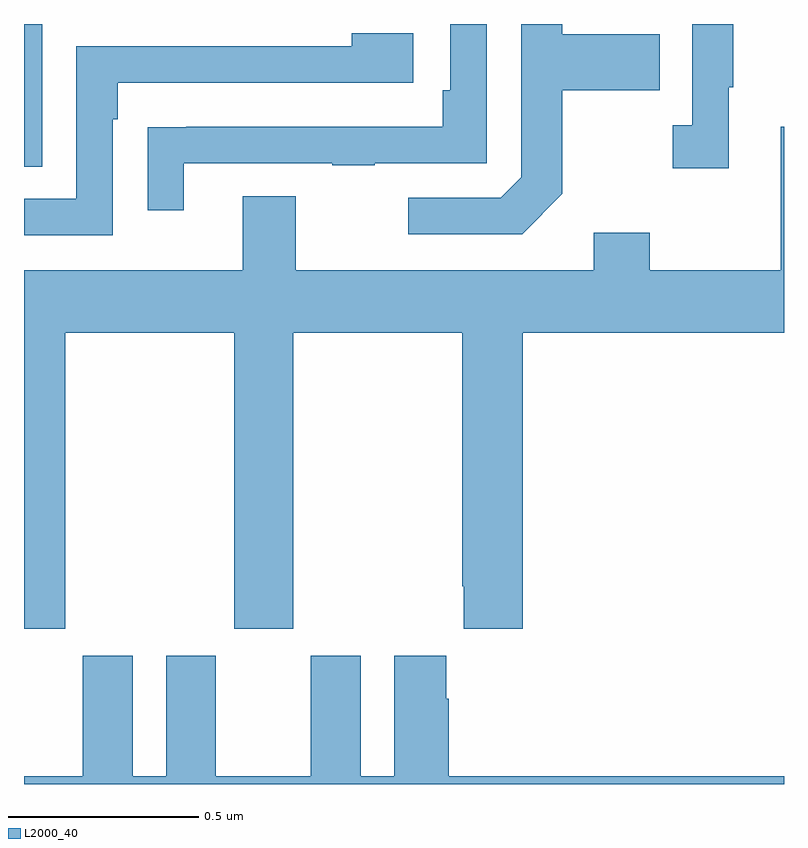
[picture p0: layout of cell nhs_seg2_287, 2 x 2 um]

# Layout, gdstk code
import gdstk
lib = gdstk.Library(unit=1e-6, precision=1e-09)
def R(c, l, rs):  # rectangles x0, y0, x1, y1
    for r in rs: c.add(gdstk.rectangle(r[:2], r[2:], *l))
def P(c, l, *ps):  # polygons
    for p in ps: c.add(gdstk.Polygon(p, *l))
L2000_40 = (2000, 40)

nhs_seg2_287 = lib.new_cell('nhs_seg2_287')
R(nhs_seg2_287, L2000_40, [(114,629.425,114.048,629.8)])
P(nhs_seg2_287, L2000_40, [(114.421,629.433),(114.811,629.433),(114.811,629.428),(114.923,629.428),(114.923,629.433),(115.218,629.433),(115.218,629.8),(115.122,629.8),(115.122,629.626),(115.102,629.626),(115.102,629.529),(114.427,629.529),(114.427,629.528),(114.325,629.528),(114.325,629.31),(114.421,629.31)],
  [(115.417,629.353),(115.417,629.626),(115.673,629.626),(115.673,629.773),(115.417,629.773),(115.417,629.8),(115.308,629.8),(115.308,629.397),(115.254,629.343),(115.011,629.343),(115.011,629.247),(115.311,629.247)],
  [(115.855,629.633),(115.867,629.633),(115.867,629.8),(115.758,629.8),(115.758,629.534),(115.707,629.534),(115.707,629.421),(115.855,629.421)],
  [(114.234,629.549),(114.247,629.549),(114.247,629.646),(115.024,629.646),(115.024,629.776),(114.863,629.776),(114.863,629.742),(114.138,629.742),(114.138,629.34),(114,629.34),(114,629.244),(114.234,629.244)],
  [(114.108,628.988),(114.553,628.988),(114.553,628.209),(114.708,628.209),(114.708,628.988),(115.153,628.988),(115.153,628.321),(115.157,628.321),(115.157,628.209),(115.313,628.209),(115.313,628.988),(116,628.988),(116,629.53),(115.991,629.53),(115.991,629.152),(115.647,629.152),(115.647,629.251),(115.499,629.251),(115.499,629.152),(114.715,629.152),(114.715,629.347),(114.575,629.347),(114.575,629.152),(114,629.152),(114,628.209),(114.108,628.209)],
  [(116,627.82),(115.118,627.82),(115.118,628.025),(115.111,628.025),(115.111,628.138),(114.974,628.138),(114.974,627.82),(114.886,627.82),(114.886,628.138),(114.755,628.138),(114.755,627.82),(114.505,627.82),(114.505,628.138),(114.374,628.138),(114.374,627.82),(114.286,627.82),(114.286,628.138),(114.155,628.138),(114.155,627.82),(114,627.82),(114,627.8),(116,627.8)])

lib.write_gds('nhs_seg2_287.gds')
